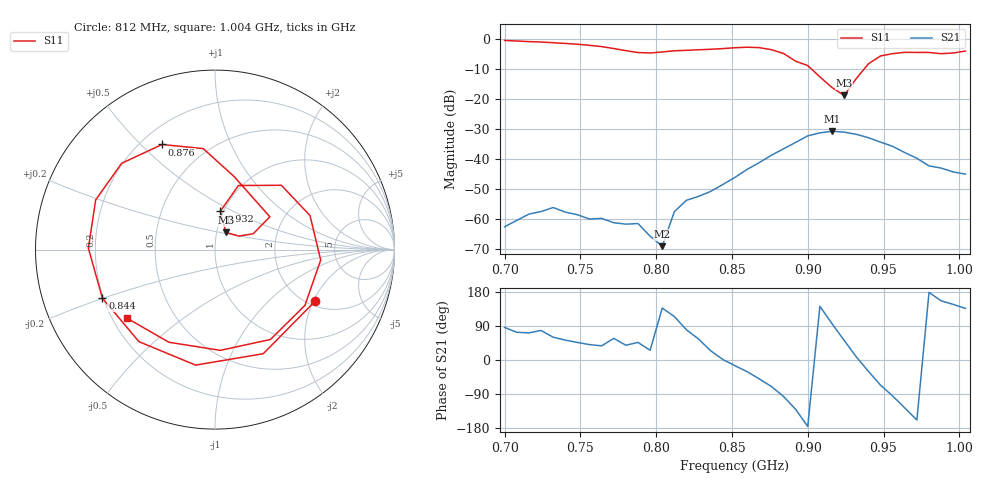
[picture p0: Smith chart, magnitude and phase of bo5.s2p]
# Hz S RI R 50
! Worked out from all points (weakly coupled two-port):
!   39 points, 700 MHz to 1.004 GHz, reference 50 ohm
!   highest |S21| = -30.86 dB at 916 MHz (marker M1); lowest = -69.1 dB at 804 MHz (marker M2)
!   lowest |S11| = -18.9 dB at 924 MHz (marker M3), VSWR 1.26, Z = 55.3 + j10.7 ohm
!   |S11| at or under -10 dB: 902.2 MHz to 937.4 MHz (35.21 MHz wide, 3.83 % of centre)
!   S12 and S22 are empty: the file has one direction only
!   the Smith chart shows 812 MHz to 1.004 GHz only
!   S11 on the Smith chart (normalised r, x): 812 MHz: 2.17, -2.06; 844 MHz: 0.20, -0.20; 876 MHz: 0.28, +0.58; 932 MHz: 0.97, +0.43; 1.004 GHz: 0.26, -0.32
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7e8  0.7467 0.5594  5.29e-05 0.000733  0 0  0 0
7.24e8  0.8462 -0.237  0.000275 0.00129  0 0  0 0
7.4e8  0.4633 -0.6916  0.000784 0.00102  0 0  0 0
7.56e8  -0.1839 -0.7524  0.000749 0.000643  0 0  0 0
7.72e8  -0.6552 -0.1985  0.000465 0.00072  0 0  0 0
7.8e8  -0.5886 0.228  0.000632 0.00051  0 0  0 0
7.88e8  -0.2399 0.5358  0.000572 0.000601  0 0  0 0
7.96e8  0.2489 0.5207  0.000461 0.000222  0 0  0 0
8.04e8  0.5757 0.1687  -0.000256 0.000237  0 0  0 0
8.12e8  0.5572 -0.288  -0.000549 0.00119  0 0  0 0
8.28e8  -0.108 -0.6436  0.00135 0.00193  0 0  0 0
8.44e8  -0.6273 -0.2707  0.00372 8.19e-05  0 0  0 0
8.52e8  -0.7055 0.00794  0.00472 -0.00128  0 0  0 0
8.76e8  -0.2945 0.5857  0.00394 -0.0107  0 0  0 0
9e8  0.3057 0.1827  -0.0239 -0.00189  0 0  0 0
9.08e8  0.2131 0.0885  -0.0211 0.0167  0 0  0 0
9.16e8  0.1335 0.0753  -0.00293 0.0285  0 0  0 0
9.24e8  0.0601 0.0959  0.0171 0.0218  0 0  0 0
9.32e8  0.03 0.2139  0.0252 0.00372  0 0  0 0
9.56e8  0.5292 0.1899  -0.00139 -0.016  0 0  0 0
9.8e8  0.3088 -0.5008  -0.00759 0.000221  0 0  0 0
1.004e9  -0.4879 -0.3836  -0.00399 0.00384  0 0  0 0
